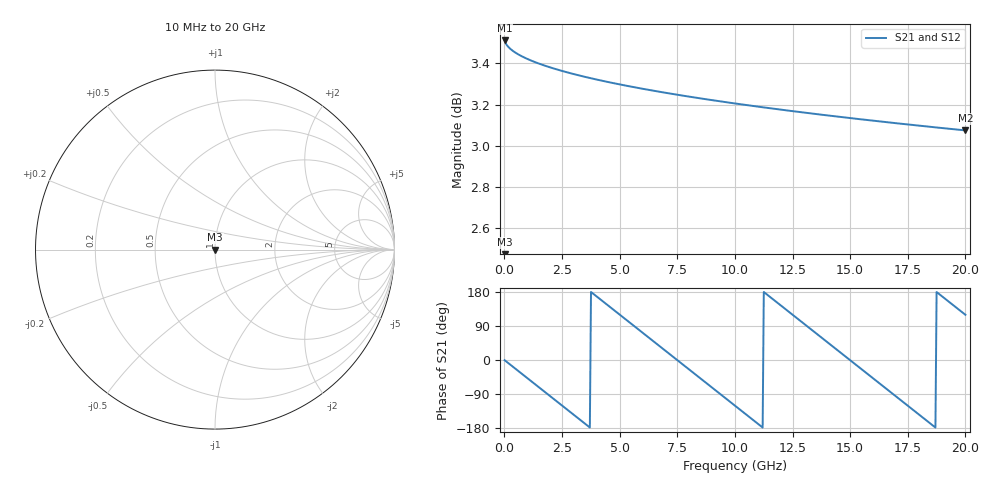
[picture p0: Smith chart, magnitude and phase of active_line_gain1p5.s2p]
! Created with skrf 2.1.0 (http://scikit-rf.org).
# GHz S RI R 50.0
!freq ReS11 ImS11 ReS21 ImS21 ReS12 ImS12 ReS22 ImS22
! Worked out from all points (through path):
!   401 points, 10 MHz to 20 GHz, reference 50 ohm
!   highest |S21| = 3.51 dB at 10 MHz (marker M1); lowest = 3.1 dB at 20 GHz (marker M2)
!   group delay of S21, straight-line fit = 133 ps
!   lowest |S11| = - dB at 10 MHz (marker M3), VSWR 1.00, Z = 50 + j0 ohm
!   |S11| at or under -10 dB: start of sweep to end of sweep
!   |S22| runs from - to - dB; largest |S21 - S12| = 0
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0.01  0 0  1.498 -0.0126  1.498 -0.0126  0 0
0.8096  0 0  1.156 -0.932  1.156 -0.932  0 0
1.759125  0 0  0.1417 -1.47  0.1417 -1.47  0 0
2.50875  0 0  -0.7476 -1.269  -0.7476 -1.269  0 0
3.358325  0 0  -1.391 -0.4706  -1.391 -0.4706  0 0
4.2079  0 0  -1.357 0.5516  -1.357 0.5516  0 0
5.2074  0 0  -0.4967 1.374  -0.4967 1.374  0 0
5.957025  0 0  0.4053 1.401  0.4053 1.401  0 0
6.70665  0 0  1.15 0.8935  1.15 0.8935  0 0
8.055975  0 0  1.294 -0.6581  1.294 -0.6581  0 0
9.055475  0 0  0.3759 -1.399  0.3759 -1.399  0 0
10.005  0 0  -0.7357 -1.245  -0.7357 -1.245  0 0
10.8046  0 0  -1.348 -0.5181  -1.348 -0.5181  0 0
11.55423  0 0  -1.393 0.373  -1.393 0.373  0 0
12.50375  0 0  -0.7071 1.255  -0.7071 1.255  0 0
13.35332  0 0  0.2844 1.41  0.2844 1.41  0 0
15.0025  0 0  1.434 -0.0155  1.434 -0.0155  0 0
15.75212  0 0  1.15 -0.8549  1.15 -0.8549  0 0
16.70165  0 0  0.1934 -1.418  0.1934 -1.418  0 0
17.50125  0 0  -0.7286 -1.23  -0.7286 -1.23  0 0
18.45078  0 0  -1.387 -0.3393  -1.387 -0.3393  0 0
20  0 0  -0.698 1.242  -0.698 1.242  0 0
